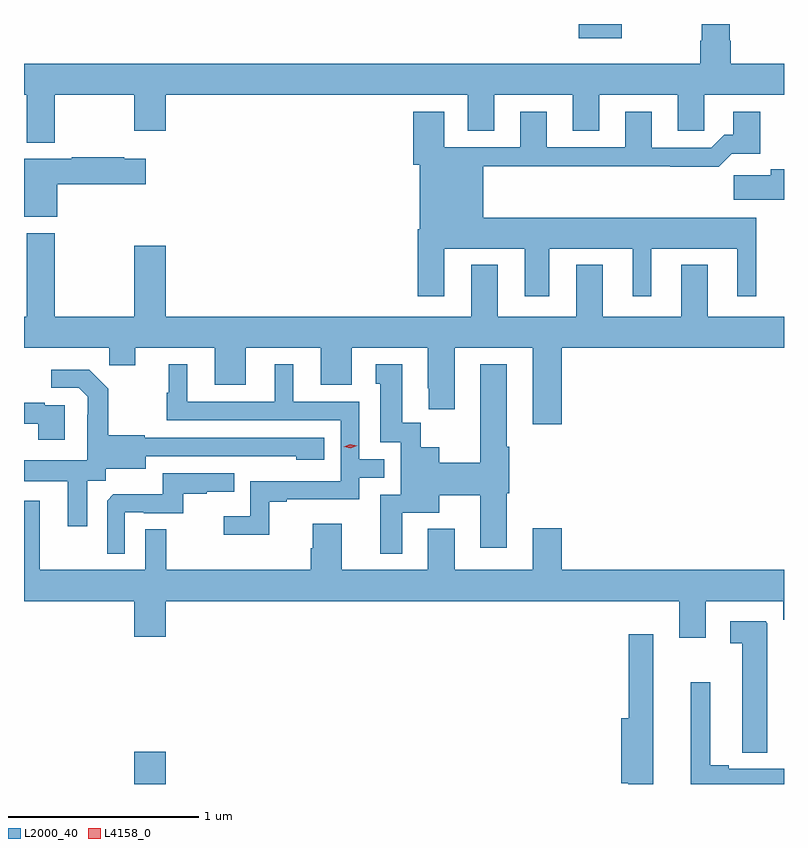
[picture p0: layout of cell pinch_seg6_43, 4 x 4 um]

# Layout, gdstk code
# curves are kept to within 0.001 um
import gdstk
lib = gdstk.Library(unit=1e-6, precision=1e-09)
def R(c, l, rs):  # rectangles x0, y0, x1, y1
    for r in rs: c.add(gdstk.rectangle(r[:2], r[2:], *l))
def P(c, l, *ps):  # polygons
    for p in ps: c.add(gdstk.Polygon(p, *l))
L2000_40 = (2000, 40)
L4158_0 = (4158, 0)

pinch_seg6_43 = lib.new_cell('pinch_seg6_43')
R(pinch_seg6_43, L2000_40, [(908.264,981.005,908.428,981.175), (910.604,984.929,910.828,985.005)])
P(pinch_seg6_43, L2000_40, [(907.845,984.632),(908.264,984.632),(908.264,984.444),(908.428,984.444),(908.428,984.632),(910.019,984.632),(910.019,984.442),(910.159,984.442),(910.159,984.632),(910.571,984.632),(910.571,984.442),(910.711,984.442),(910.711,984.632),(911.123,984.632),(911.123,984.442),(911.262,984.442),(911.262,984.632),(911.683,984.632),(911.683,984.796),(911.402,984.796),(911.402,984.917),(911.397,984.917),(911.397,985.005),(911.249,985.005),(911.249,984.917),(911.242,984.917),(911.242,984.796),(907.683,984.796),(907.683,984.632),(907.697,984.632),(907.697,984.38),(907.845,984.38)],
  [(909.895,983.822),(910.319,983.822),(910.319,983.571),(910.447,983.571),(910.447,983.822),(910.886,983.822),(910.886,983.571),(910.984,983.571),(910.984,983.822),(911.438,983.822),(911.438,983.571),(911.536,983.571),(911.536,983.986),(910.099,983.986),(910.099,984.256),(911.083,984.256),(911.083,984.254),(911.339,984.254),(911.408,984.323),(911.557,984.323),(911.557,984.544),(911.417,984.544),(911.417,984.421),(911.368,984.421),(911.301,984.354),(910.987,984.354),(910.987,984.544),(910.847,984.544),(910.847,984.357),(910.435,984.357),(910.435,984.544),(910.295,984.544),(910.295,984.357),(909.895,984.357),(909.895,984.544),(909.731,984.544),(909.731,984.264),(909.767,984.264),(909.767,983.926),(909.755,983.926),(909.755,983.571),(909.895,983.571)],
  [(907.858,984.161),(908.323,984.161),(908.323,984.295),(908.21,984.295),(908.21,984.303),(907.933,984.303),(907.933,984.295),(907.683,984.295),(907.683,983.99),(907.858,983.99)],
  [(911.683,984.241),(911.612,984.241),(911.612,984.209),(911.418,984.209),(911.418,984.08),(911.683,984.08)],
  [(910.514,983.3),(911.683,983.3),(911.683,983.464),(911.281,983.464),(911.281,983.737),(911.141,983.737),(911.141,983.464),(910.729,983.464),(910.729,983.737),(910.589,983.737),(910.589,983.464),(910.177,983.464),(910.177,983.737),(910.037,983.737),(910.037,983.464),(908.428,983.464),(908.428,983.839),(908.264,983.839),(908.264,983.464),(907.845,983.464),(907.845,983.905),(907.697,983.905),(907.697,983.464),(907.683,983.464),(907.683,983.3),(908.131,983.3),(908.131,983.21),(908.269,983.21),(908.269,983.3),(908.687,983.3),(908.687,983.106),(908.851,983.106),(908.851,983.3),(909.245,983.3),(909.245,983.106),(909.409,983.106),(909.409,983.3),(909.809,983.3),(909.809,983.089),(909.812,983.089),(909.812,982.977),(909.949,982.977),(909.949,983.3),(910.361,983.3),(910.361,982.899),(910.514,982.899)],
  [(908.973,982.491),(909.067,982.491),(909.067,982.503),(909.447,982.503),(909.447,982.617),(909.58,982.617),(909.58,982.713),(909.447,982.713),(909.447,983.016),(909.1,983.016),(909.1,983.215),(909.002,983.215),(909.002,983.016),(908.542,983.016),(908.542,983.215),(908.444,983.215),(908.444,983.064),(908.433,983.064),(908.433,982.92),(909.351,982.92),(909.351,982.599),(908.874,982.599),(908.874,982.414),(908.733,982.414),(908.733,982.316),(908.973,982.316)],
  [(909.673,982.433),(909.868,982.433),(909.868,982.525),(910.085,982.525),(910.085,982.248),(910.225,982.248),(910.225,982.536),(910.238,982.536),(910.238,982.78),(910.225,982.78),(910.225,983.215),(910.085,983.215),(910.085,982.697),(909.868,982.697),(909.868,982.777),(909.771,982.777),(909.771,982.907),(909.673,982.907),(909.673,983.215),(909.533,983.215),(909.533,983.112),(909.557,983.112),(909.557,982.803),(909.666,982.803),(909.666,982.527),(909.557,982.527),(909.557,982.218),(909.673,982.218)],
  [(908.017,982.6),(908.112,982.6),(908.112,982.664),(908.323,982.664),(908.323,982.731),(909.117,982.73),(909.117,982.712),(909.262,982.712),(909.262,982.827),(908.319,982.827),(908.319,982.84),(908.127,982.84),(908.127,983.085),(908.027,983.185),(907.827,983.185),(907.827,983.091),(907.971,983.091),(908.018,983.044),(908.018,982.949),(908.016,982.949),(908.016,982.708),(907.683,982.708),(907.683,982.598),(907.913,982.598),(907.913,982.362),(908.017,982.362)],
  [(907.897,982.998),(907.793,982.998),(907.793,983.011),(907.683,983.011),(907.683,982.902),(907.757,982.902),(907.757,982.818),(907.897,982.818)],
  [(908.214,982.434),(908.314,982.434),(908.314,982.431),(908.522,982.431),(908.522,982.533),(908.645,982.533),(908.645,982.544),(908.789,982.544),(908.789,982.641),(908.412,982.641),(908.412,982.529),(908.153,982.529),(908.121,982.497),(908.121,982.217),(908.214,982.217)],
  [(911.272,981.968),(911.678,981.968),(911.678,981.87),(911.683,981.87),(911.683,982.132),(910.514,982.132),(910.514,982.351),(910.361,982.351),(910.361,982.132),(909.949,982.132),(909.949,982.348),(909.809,982.348),(909.809,982.132),(909.355,982.132),(909.355,982.375),(909.203,982.375),(909.203,982.245),(909.191,982.245),(909.191,982.132),(908.431,982.132),(908.431,982.346),(908.322,982.346),(908.322,982.132),(907.765,982.132),(907.765,982.495),(907.683,982.495),(907.683,981.968),(908.264,981.968),(908.264,981.78),(908.428,981.78),(908.428,981.968),(911.132,981.968),(911.132,981.774),(911.272,981.774)],
  [(911.596,981.851),(911.586,981.861),(911.4,981.861),(911.4,981.745),(911.462,981.745),(911.462,981.169),(911.596,981.169)],
  [(910.996,981.793),(910.865,981.793),(910.865,981.352),(910.826,981.352),(910.826,981.008),(910.862,981.008),(910.862,981.005),(910.996,981.005)],
  [(911.683,981.084),(911.392,981.084),(911.392,981.104),(911.296,981.104),(911.296,981.541),(911.192,981.541),(911.192,981.005),(911.683,981.005)])
P(pinch_seg6_43, L4158_0, [(909.402,982.773),(909.367,982.78),(909.367,982.78),(909.367,982.78),(909.4,982.793),(909.435,982.785),(909.436,982.785),(909.435,982.785)])

lib.write_gds('pinch_seg6_43.gds')
